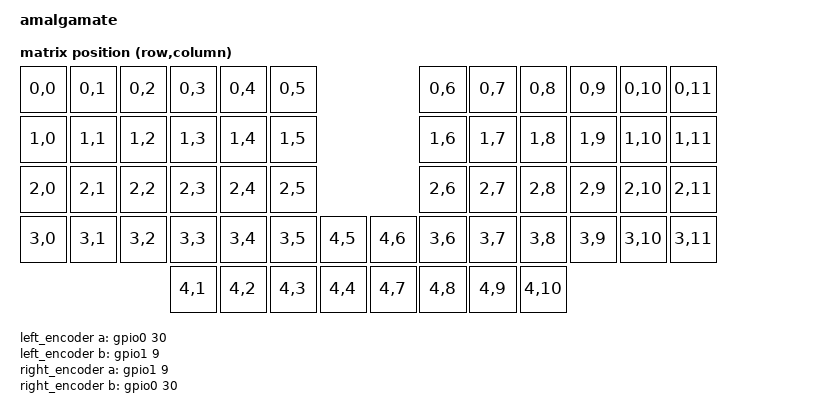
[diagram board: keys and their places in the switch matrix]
/*
 * Copyright (c) 2021 Anthony Amanse
 *
 * SPDX-License-Identifier: MIT
 */

/dts-v1/;
#include <nordic/nrf52840_qiaa.dtsi>

#include <dt-bindings/zmk/matrix_transform.h>

/ {
	model = "amalgamate";
	compatible = "amalgamate";

	chosen {
		zephyr,code-partition = &code_partition;
		zephyr,sram = &sram0;
		zephyr,flash = &flash0;
		zmk,kscan = &kscan0;
		zmk,matrix_transform = &default_transform;	
	};

	default_transform: keymap_transform_0 {
		compatible = "zmk,matrix-transform";
		columns = <12>;
		rows = <5>;

			map = <
	RC(0,0) RC(0,1) RC(0,2) RC(0,3) RC(0,4) RC(0,5)                  RC(0,6) RC(0,7) RC(0,8) RC(0,9) RC(0,10) RC(0,11)
	RC(1,0) RC(1,1) RC(1,2) RC(1,3) RC(1,4) RC(1,5)                  RC(1,6) RC(1,7) RC(1,8) RC(1,9) RC(1,10) RC(1,11)
	RC(2,0) RC(2,1) RC(2,2) RC(2,3) RC(2,4) RC(2,5)                  RC(2,6) RC(2,7) RC(2,8) RC(2,9) RC(2,10) RC(2,11)
	RC(3,0) RC(3,1) RC(3,2) RC(3,3) RC(3,4) RC(3,5) RC(4,5)  RC(4,6) RC(3,6) RC(3,7) RC(3,8) RC(3,9) RC(3,10) RC(3,11)
						    RC(4,1) RC(4,2) RC(4,3) RC(4,4)  RC(4,7) RC(4,8) RC(4,9) RC(4,10)
		>;
	};

	left_encoder: encoder_left {
        compatible = "alps,ec11";
        label = "LEFT_ENCODER";
        a-gpios = <&gpio0 30 (GPIO_ACTIVE_HIGH | GPIO_PULL_UP)>;
        b-gpios = <&gpio1 9 (GPIO_ACTIVE_HIGH | GPIO_PULL_UP)>;
        resolution = <4>;
        status = "disabled";
    };

    right_encoder: encoder_right {
        compatible = "alps,ec11";
        label = "RIGHT_ENCODER";
        a-gpios = <&gpio1 9 (GPIO_ACTIVE_HIGH | GPIO_PULL_UP)>;
        b-gpios = <&gpio0 30 (GPIO_ACTIVE_HIGH | GPIO_PULL_UP)>;
        resolution = <4>;
        status = "disabled";
    };

	sensors {
        compatible = "zmk,keymap-sensors";
        sensors = <&left_encoder &right_encoder>;
    };
	
	leds {
		compatible = "gpio-leds";
		blue_led: led_0 {
			gpios = <&gpio1 10 GPIO_ACTIVE_HIGH>;
			label = "Blue LED";
		};
	};

	ext-power {
		compatible = "zmk,ext-power-generic";
		label = "EXT_POWER";
		init-delay-ms = <20>;
		control-gpios = <&gpio0 12 GPIO_ACTIVE_HIGH>;
	};

	vbatt {
		compatible = "zmk,battery-voltage-divider";
		label = "BATTERY";
		io-channels = <&adc 7>;
		output-ohms = <2000000>;
		full-ohms = <(2000000 + 806000)>;
	};
};


&adc {
	status = "okay";
};

&gpiote {
	status = "okay";
};

&gpio0 {
	status = "okay";
};

&gpio1 {
	status = "okay";
};

&usbd {
	status = "okay";
};


&spi1 {
	status = "okay";
	compatible = "nordic,nrf-spim";
	sck-pin = <17>;
	mosi-pin = <15>;
	miso-pin = <22>;
	cs-gpios = <&gpio0 20 GPIO_ACTIVE_LOW>;
 
	il0323@0 {
		compatible = "gooddisplay,il0323";
		label = "DISPLAY";
		spi-max-frequency = <4000000>;
		reg = <0>;
		width = <80>;
		height = <128>;
		dc-gpios = <&gpio0 8 GPIO_ACTIVE_LOW>;
		reset-gpios = <&gpio0 6 GPIO_ACTIVE_LOW>;
		busy-gpios = <&gpio0 26 GPIO_ACTIVE_LOW>;
		cdi = <0xd2>;
		tcon = <0x22>;
		pwr = [03 00 26 26];
	};
};


&flash0 {
	/*
	 * For more information, see:
	 * http://docs.zephyrproject.org/latest/devices/dts/flash_partitions.html
	 */
	partitions {
		compatible = "fixed-partitions";
		#address-cells = <1>;
		#size-cells = <1>;

		sd_partition: partition@0 {
			label = "softdevice";
			reg = <0x00000000 0x00026000>;
		};
		code_partition: partition@26000 {
			label = "code_partition";
			reg = <0x00026000 0x000c6000>;
		};

		/*
		 * The flash starting at 0x000ec000 and ending at
		 * 0x000f3fff is reserved for use by the application.
		 */

		/*
		 * Storage partition will be used by FCB/LittleFS/NVS
		 * if enabled.
		 */
		storage_partition: partition@ec000 {
			label = "storage";
			reg = <0x000ec000 0x00008000>;
		};

		boot_partition: partition@f4000 {
			label = "adafruit_boot";
			reg = <0x000f4000 0x0000c000>;
		};
	};
};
